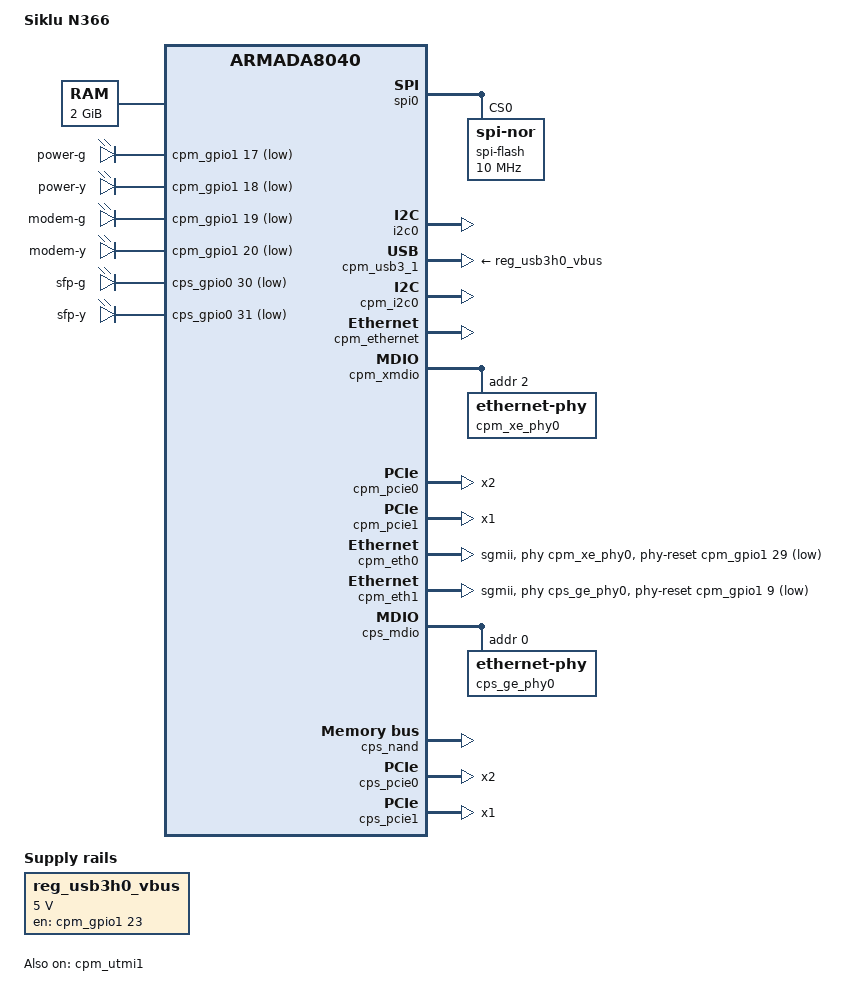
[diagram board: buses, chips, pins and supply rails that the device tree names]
/*
 * Copyright (C) 2016 Marvell International Ltd.
 *
 * SPDX-License-Identifier:	GPL-2.0
 * https://spdx.org/licenses
 */

#include "armada-8040.dtsi" /* include SoC device tree */

/ {
	model = "Siklu N366";
	compatible = "siklu,n366", "marvell,armada8040";

	chosen {
		stdout-path = "serial0:115200n8";
	};
	
	aliases {
		i2c0 = &cpm_i2c0;
		i2c1 = &cpm_i2c1;
		spi0 = &spi0;
		gpio0 = &ap_gpio0;
		gpio1 = &cpm_gpio0;
		gpio2 = &cpm_gpio1;
	};


	memory@00000000 {
		device_type = "memory";
		reg = <0x0 0x0 0x0 0x80000000>;
	};

	simple-bus {
		compatible = "simple-bus";
		#address-cells = <1>;
		#size-cells = <0>;

		reg_usb3h0_vbus: usb3-vbus0 {
			compatible = "regulator-fixed";
			pinctrl-names = "default";
			pinctrl-0 = <&cpm_xhci_vbus_pins>;
			regulator-name = "reg-usb3h0-vbus";
			regulator-min-microvolt = <5000000>;
			regulator-max-microvolt = <5000000>;
			startup-delay-us = <500000>;
			enable-active-high;
			regulator-always-on;
			regulator-boot-on;
			gpio = <&cpm_gpio1 23 GPIO_ACTIVE_HIGH>; /* GPIO[54] */
		};
	};
	
	leds {
		compatible = "gpio-leds";
		
		power-green-led {
			label = "power-g";
			gpios = <&cpm_gpio1 17 GPIO_ACTIVE_LOW>; /* MPP49 */ 
		};
			
		power-yellow-led {
			label = "power-y";
			gpios = <&cpm_gpio1 18 GPIO_ACTIVE_LOW>; /* MPP50 */
		};
		
		modem-green-led {
			label = "modem-g";
			gpios = <&cpm_gpio1 19 GPIO_ACTIVE_LOW>; /* MPP51 */ 
		};
		
		modem-yellow-led {
			label = "modem-y";
			gpios = <&cpm_gpio1 20 GPIO_ACTIVE_LOW>; /* MPP52 */
		};
		
		sfp-green-led {
			label = "sfp-g";
			gpios = <&cps_gpio0 30 GPIO_ACTIVE_LOW>; /* MPP30 */
		};
		
		sfp-yellow-led {
			label = "sfp-y";
			gpios = <&cps_gpio0 31 GPIO_ACTIVE_LOW>; /* MPP31 */
		};
	};
};

&ap_pinctl {
	pin-func = <0xff 0xff 0xff 0xff 0xff 0xff 0xff 0xff 0xff 0xff 
				0xff 0xff 0xff 0xff 0xff 0xff 0xff 0xff 0xff 0xff>;

	ap_spi_pins: ap-spi-pins {
		marvell,pins		= <0 1 2 3>;
		marvell,function	= <3>;
	};
};

&spi0 {
	pinctrl-0 = <&ap_spi_pins>;
	pinctrl-names = "default";

	status = "okay";
	
	spi-flash@0 {
		#address-cells = <1>;
		#size-cells = <1>;
		compatible = "jedec,spi-nor";
		reg = <0>; /* Chip select 0 */
		spi-max-frequency = <10000000>;
	};
};

&i2c0 {
	pinctrl-0 = <&ap_i2c0_pins>;
	pinctrl-names = "default";
	status = "okay";
};


&cpm_pinctl {
	pinctrl-0 = <&phy_1512_led_color>;

	pin-func = <0xff 0xff 0xff 0xff 0xff 0xff 0xff 0xff 0xff 0xff
                0xff 0xff 0xff 0xff 0xff 0xff 0xff 0xff 0xff 0xff
                0xff 0xff 0xff 0xff 0xff 0xff 0xff 0xff 0xff 0xff
                0xff 0xff 0xff 0xff 0xff 0xff 0xff 0xff 0xff 0xff
                0xff 0xff 0xff 0xff 0xff 0xff 0xff 0xff 0xff 0xff
                0xff 0xff 0xff 0xff 0xff 0xff 0xff 0xff 0xff 0xff
                0xff 0xff 0xff>;

	cpm_xhci_vbus_pins: cpm-xhci-vbus-pins {
		marvell,pins = <54>;
		marvell,function = <0>;
	};

	cpm_phy_reset_pins: cpm-1512-reset-pins {
		marvell,pins = <41>;
		marvell,function = <0>;
	};

	cpm_pcie1_pins: cpm-pcie1-pins {
		marvell,pins = <33>;
		marvell,function = <0>;
	};

	cpm_pcie0_pins: cpm-pcie0-pins {
		marvell,pins = <32>;
		marvell,function = <0>;
	};
	
	phy0_10g_3310_xmdio_pins: phy0-3310-xmdio-pins {
		marvell,pins = <42 43>;
		marvell,function = <0x8>;
	};
	
	phy0_10g_3310_reset_pins: phy0-3310-reset-pins {
		marvell,pins = <61>;
		marvell,function = <0>;
	};

	phy_1512_led_color: phy-1512-led-color {
		marvell,pins = <54>;
		marvell,function = <0>;
	};
};

&cpm_comphy {
	phy0 {
		phy-type = <PHY_TYPE_PEX0>;
	};
	phy1 {
		phy-type = <PHY_TYPE_PEX0>;
	};
	phy2 {
		phy-type = <PHY_TYPE_UNCONNECTED>;
	};
	phy3 {
		phy-type = <PHY_TYPE_SGMII1>;
		phy-speed = <PHY_SPEED_1_25G>;
	};
	phy4 {
		phy-type = <PHY_TYPE_PEX1>;
	};
};

&cpm_usb3_1 {
	vbus-supply = <&reg_usb3h0_vbus>;
	status = "okay";
};

&cpm_utmi1 {
	status = "okay";
};

&cpm_i2c0 {
	pinctrl-0 = <&cpm_i2c0_pins>;
	pinctrl-names = "default";
	status = "okay";
};

&cpm_ethernet {
	status = "okay";
};

&cpm_xmdio {
	status = "okay";
	pinctrl-names = "default";
	pinctrl-0 = <&phy0_10g_3310_xmdio_pins>;

    cpm_xe_phy0: ethernet-phy@2 {
        reg = <2>;
	};
};

&cpm_pcie0 {
	pinctrl-0 = <&cpm_pcie0_pins>;
	pinctrl-names = "default";
	num-lanes = <2>;
	status = "okay";
	marvell,reset-gpio = <&cpm_gpio1 0 GPIO_ACTIVE_LOW>;
};

&cpm_pcie1 {
	pinctrl-0 = <&cpm_pcie1_pins>;
	pinctrl-names = "default";
	num-lanes = <1>;
	marvell,reset-gpio = <&cpm_gpio1 1 GPIO_ACTIVE_LOW>;
	status = "okay";
};

&cpm_eth0 {
	pinctrl-names = "default";
	pinctrl-0 = <&phy0_10g_3310_reset_pins>;
	status = "okay";
	/* supposed to be "10gbase-kr" but mvpp2 doesn't support it */
	phy-mode = "sgmii";  
	phy = <&cpm_xe_phy0>;
    phy-reset-gpios = <&cpm_gpio1 29 GPIO_ACTIVE_LOW>;
};

&cpm_eth1 {
	pinctrl-0 = <&cpm_phy_reset_pins>;
	pinctrl-names = "default";
	status = "okay";
	phy-mode = "sgmii";
	phy = <&cps_ge_phy0>;
	phy-reset-gpios = <&cpm_gpio1 9 GPIO_ACTIVE_LOW>;
};

&cps_pinctl {
	pin-func = <0xff 0xff 0xff 0xff 0xff 0xff 0xff 0xff 0xff 0xff
                0xff 0xff 0xff 0xff 0xff 0xff 0xff 0xff 0xff 0xff
                0xff 0xff 0xff 0xff 0xff 0xff 0xff 0xff 0xff 0xff
                0xff 0xff 0xff 0xff 0xff 0xff 0xff 0xff 0xff 0xff
                0xff 0xff 0xff 0xff 0xff 0xff 0xff 0xff 0xff 0xff
                0xff 0xff 0xff 0xff 0xff 0xff 0xff 0xff 0xff 0xff
                0xff 0xff 0xff>;

	cps_pcie1_pins: cps-pcie1-pins {
		marvell,pins = <28>;
		marvell,function = <0>;
	};

	cps_pcie0_pins: cps-pcie0-pins {
		marvell,pins = <29>;
		marvell,function = <0>;
	};
	
	cps_nand_pins: cps-nand-pins {
		marvell,pins = <13>;
		marvell,function = <2>;
	};
	
	cps_dev_nand_pins: cps-dev-nand-pins {
		marvell,pins =  <15 16 17 18 19 20 21 22 23 24 25 26 27>;
		marvell,function = <1>;
	};
	
	cps_mdio_pins: cps-mdio-pins {
		marvell,pins = <4 5>;
		marvell,function = <0x0a>;
	};
	
	cps_uart0_pins: cps-uart0-pins {
		marvell,pins = <0 1>;
		marvell,function = <8>;
	};
};

&cps_comphy {
	phy0 {
		phy-type = <PHY_TYPE_PEX0>;
	};
	phy1 {
		phy-type = <PHY_TYPE_PEX0>;
	};
	phy2 {
		phy-type = <PHY_TYPE_UNCONNECTED>;
	};
	phy3 {
		phy-type = <PHY_TYPE_UNCONNECTED>;

	};
	phy4 {
		phy-type = <PHY_TYPE_PEX1>;
	};
};

&cps_mdio {
	pinctrl-0 = <&cps_mdio_pins>;
	pinctrl-names = "default";

	status = "okay";
	cps_ge_phy0: ethernet-phy@0 {
		reg = <0>;
	};
};

/* NOT supported by uboot
&cps_uart0 {
	pinctrl-0 = <&cps_uart_pins>;
	pinctrl-names = "default";
};*/

&cps_nand {
	pinctrl-0 = <&cps_nand_pins &cps_dev_nand_pins>;
	pinctrl-names = "default";
	status = "okay";
	nand-ecc-step-size = <512>;
	nand-ecc-strength = <8>;
};

&cps_pcie0 {
	pinctrl-0 = <&cps_pcie0_pins>;
	pinctrl-names = "default";
	num-lanes = <2>;
	status = "okay";
	marvell,reset-gpio = <&cps_gpio0 29 GPIO_ACTIVE_LOW>;

};

&cps_pcie1 {
	pinctrl-0 = <&cps_pcie1_pins>;
	pinctrl-names = "default";
	num-lanes = <1>;
	status = "okay";
	marvell,reset-gpio = <&cps_gpio0 28 GPIO_ACTIVE_LOW>;
};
